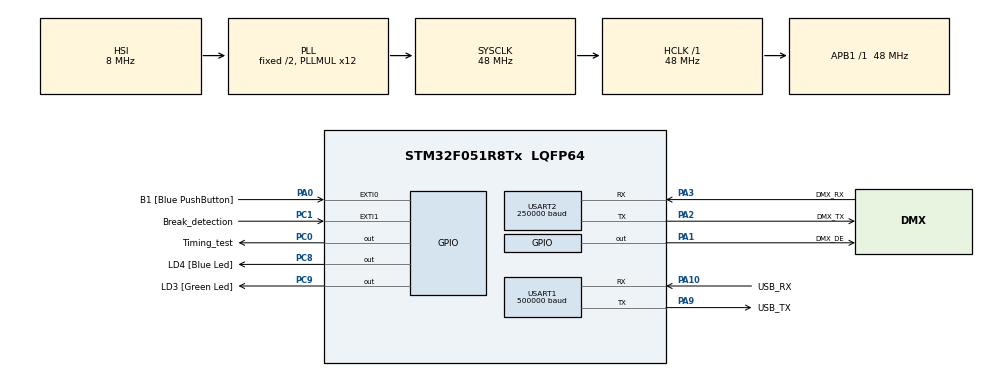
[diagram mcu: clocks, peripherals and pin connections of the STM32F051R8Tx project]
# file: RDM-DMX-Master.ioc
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Dma.Request0=USART1_RX
Dma.Request1=USART2_RX
Dma.USART1_RX.0.Direction=DMA_PERIPH_TO_MEMORY
Dma.USART1_RX.0.Instance=DMA1_Channel3
Dma.USART1_RX.0.MemDataAlignment=DMA_MDATAALIGN_BYTE
Dma.USART1_RX.0.MemInc=DMA_MINC_ENABLE
Dma.USART1_RX.0.Mode=DMA_NORMAL
Dma.USART1_RX.0.PeriphDataAlignment=DMA_PDATAALIGN_BYTE
Dma.USART1_RX.0.PeriphInc=DMA_PINC_DISABLE
Dma.USART1_RX.0.Priority=DMA_PRIORITY_LOW
Dma.USART2_RX.1.Direction=DMA_PERIPH_TO_MEMORY
Dma.USART2_RX.1.Instance=DMA1_Channel5
Dma.USART2_RX.1.MemDataAlignment=DMA_MDATAALIGN_BYTE
Dma.USART2_RX.1.MemInc=DMA_MINC_ENABLE
Dma.USART2_RX.1.Mode=DMA_NORMAL
Dma.USART2_RX.1.PeriphDataAlignment=DMA_PDATAALIGN_BYTE
Dma.USART2_RX.1.PeriphInc=DMA_PINC_DISABLE
Dma.USART2_RX.1.Priority=DMA_PRIORITY_LOW
Mcu.Family=STM32F0
Mcu.Name=STM32F051R8Tx
Mcu.Package=LQFP64
NVIC.DMA1_Channel2_3_IRQn=true\:0\:0\:false\:false\:true\:true\:true\:true
NVIC.DMA1_Channel4_5_IRQn=true\:0\:0\:false\:false\:true\:true\:true\:true
NVIC.TIM14_IRQn=true\:0\:0\:false\:false\:true\:true\:true\:true
NVIC.TIM17_IRQn=true\:1\:0\:true\:false\:true\:true\:true\:true
NVIC.TIM2_IRQn=true\:2\:0\:true\:false\:true\:true\:true\:true
NVIC.USART1_IRQn=true\:1\:0\:true\:false\:true\:true\:true\:true
NVIC.USART2_IRQn=true\:0\:0\:true\:false\:true\:true\:true\:true
PA0.GPIO_Label=B1 [Blue PushButton]
PA0.GPIO_ModeDefaultEXTI=GPIO_MODE_EVT_RISING
PA0.Signal=GPXTI0
PA1.GPIO_Label=DMX_DE
PA1.GPIO_Speed=GPIO_SPEED_FREQ_HIGH
PA1.Signal=GPIO_Output
PA10.GPIO_Label=USB_RX
PA10.Mode=Asynchronous
PA10.Signal=USART1_RX
PA13.GPIO_Label=SWDIO
PA13.Mode=Serial_Wire
PA13.Signal=SYS_SWDIO
PA14.GPIO_Label=SWCLK
PA14.Mode=Serial_Wire
PA14.Signal=SYS_SWCLK
PA2.GPIO_Label=DMX_TX
PA2.Mode=Asynchronous
PA2.Signal=USART2_TX
PA3.GPIO_Label=DMX_RX
PA3.Mode=Asynchronous
PA3.Signal=USART2_RX
PA9.GPIO_Label=USB_TX
PA9.Mode=Asynchronous
PA9.Signal=USART1_TX
PC0.GPIO_Label=Timing_test
PC0.GPIO_Speed=GPIO_SPEED_FREQ_HIGH
PC0.Signal=GPIO_Output
PC1.GPIO_Label=Break_detection
PC1.GPIO_ModeDefaultEXTI=GPIO_MODE_IT_RISING_FALLING
PC1.Signal=GPXTI1
PC8.GPIO_Label=LD4 [Blue Led]
PC8.Signal=GPIO_Output
PC9.GPIO_Label=LD3 [Green Led]
PC9.Signal=GPIO_Output
ProjectManager.HeapSize=0x200
ProjectManager.StackSize=0x400
ProjectManager.TargetToolchain=STM32CubeIDE
RCC.AHBFreq_Value=48000000
RCC.APB1Freq_Value=48000000
RCC.APB1TimFreq_Value=48000000
RCC.HCLKFreq_Value=48000000
RCC.PLLMUL=RCC_PLL_MUL12
RCC.SYSCLKFreq_VALUE=48000000
RCC.SYSCLKSource=RCC_SYSCLKSOURCE_PLLCLK
TIM14.Channel=TIM_CHANNEL_1
TIM14.Prescaler=48-1
TIM17.AutoReloadPreload=TIM_AUTORELOAD_PRELOAD_ENABLE
TIM17.Period=0xffff
TIM17.Prescaler=48-1
TIM2.Period=100000
TIM2.Prescaler=48-1
USART1.BaudRate=500000
USART1.StopBits=STOPBITS_2
USART1.VirtualMode-Asynchronous=VM_ASYNC
USART2.BaudRate=250000
USART2.StopBits=STOPBITS_2
USART2.VirtualMode-Asynchronous=VM_ASYNC
VP_TIM14_VS_ClockSourceINT.Mode=Enable_Timer
VP_TIM14_VS_no_output1.Mode=Output Compare1 No Output
VP_TIM17_VS_ClockSourceINT.Mode=Enable_Timer
VP_TIM2_VS_ClockSourceINT.Mode=Internal
board=STM32F0DISCOVERY

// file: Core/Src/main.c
/* USER CODE BEGIN Header */
/**
  ******************************************************************************
  * @file           : main.c
  * @brief          : Main program body
  ******************************************************************************
  * @attention
  *
  * Copyright (c) 2023 STMicroelectronics.
  * All rights reserved.
  *
  * This software is licensed under terms that can be found in the LICENSE file
  * in the root directory of this software component.
  * If no LICENSE file comes with this software, it is provided AS-IS.
  *
  ******************************************************************************
  */
/* USER CODE END Header */
#include "main.h"

/* USER CODE BEGIN Includes */
#include "DMX.h"
#include <stdio.h>
#include <stdlib.h>
#include <string.h>
/* USER CODE END Includes */

/* USER CODE BEGIN PD */
#define TIMEOUT 100
#define NUM_CHANNELS 40
#define MINIMAL_BREAK_TIME 80 //80us (por norma o minimo o 88us)
#define MINIMAL_MAB_TIME 8 //8us (por norma o minimo o 12us)
//#define DEBUG_RDM
//#define DEBUG_DMX
#define GUI_RDM_DMX
/* USER CODE END PD */

/* USER CODE BEGIN PM */
/* Macros para utilizar os mesmos pinos como UART e GPIO */
#define DMX_UART_Init() MX_USART2_UART_Init()
#define DMX_UART_DeInit HAL_UART_DeInit(&huart2)
#define DMX_GPIO_DeInit() HAL_GPIO_DeInit(GPIOA, GPIO_PIN_2); // Desativa o modo GPIO
#define DMX_Set_LOW() HAL_GPIO_WritePin(GPIOA, GPIO_PIN_2, GPIO_PIN_SET);
#define DMX_Set_HIGH() HAL_GPIO_WritePin(GPIOA, GPIO_PIN_2, GPIO_PIN_RESET);
#define DMX_Set_DE_LOW() HAL_GPIO_WritePin(GPIOA, GPIO_PIN_1, GPIO_PIN_RESET);
#define DMX_Set_DE_HIGH() HAL_GPIO_WritePin(GPIOA, GPIO_PIN_1, GPIO_PIN_SET);

#define HEADER_BUFFER_SIZE 9
#define GUI_addr &huart1
#define LIGHTING_addr &huart2
/* USER CODE END PM */

TIM_HandleTypeDef htim2;
TIM_HandleTypeDef htim14;
TIM_HandleTypeDef htim17;

UART_HandleTypeDef huart1;
UART_HandleTypeDef huart2;
DMA_HandleTypeDef hdma_usart1_rx;
DMA_HandleTypeDef hdma_usart2_rx;

/* USER CODE BEGIN PV */
// Defina os estados da maquina de estados para o envio DMX
typedef enum {
    STATE_IDLE,
    STATE_MBB,
    STATE_BREAK,
    STATE_MAB,
    STATE_DATA,
} DMX_State;

// Variaveis globais
DMX_State dmx_state = STATE_IDLE;
uint16_t dmx_index = 0;
uint16_t receivedIndex = 0;
uint8_t* receiveBuffer = NULL;

typedef struct {
    uint8_t *data;
    uint16_t capacity;
} DynamicFrame;

DynamicFrame currentFrame = {0};
uint8_t header_sequence[] = {0x7E, 0x06, 0x3A};
uint8_t tail_sequence[] = {0x7E, 0x06, 0x3B};
uint8_t TBB_value = 0;
uint8_t TBF_value = 0;
uint8_t break_time_value = 88;
uint8_t countinuous_DMX_send = 0;
uint8_t uartBuffer[HEADER_BUFFER_SIZE];
uint8_t* DMX_buffer_toSend = NULL;
uint16_t DMX_buffer_toSend_Size = 0;
uint8_t process_frame = 0;
uint8_t data_already_send = 1;
uint16_t Frame_Size = 0;
uint16_t UART2_rxBuffer_Size = 0;
uint8_t UART2_on_Start = 0;
uint8_t UART2_rxBuffer[1024];
uint8_t UART2_Begin_rxBuffer[3];
uint8_t on_MAB = 0;
uint8_t on_break_mark = 0;
uint8_t data_sent;
uint8_t gui_frame_is_rdm = 0;
uint16_t gui_frame_size = 0;
uint8_t gui_rdm_header_bytes[4] = {0};

/* USER CODE END PV */

void SystemClock_Config(void);
static void MX_GPIO_Init(void);
static void MX_DMA_Init(void);
static void MX_USART1_UART_Init(void);
static void MX_USART2_UART_Init(void);
static void MX_TIM2_Init(void);
static void MX_TIM17_Init(void);
static void MX_TIM14_Init(void);
/* USER CODE BEGIN PFP */
static void DMX_GPIO_Init(void);
static void DMX_GPIO_ToUSART(void);
static void DMX_ScheduleTimer(uint16_t period_us);
static uint16_t DMX_GetMarkBeforeBreak(void);
static uint16_t DMX_GetMarkAfterBreak(void);
static uint16_t DMX_GetBreakTimeUs(void);
static void DMX_DisableTransmitter(void);
static void DMX_EnableTransmitter(void);
void DMX_SendHandler(void);
void startTiming(void);
void stopTiming(void);
/* USER CODE END PFP */

/* USER CODE BEGIN 0 */
void HAL_UART_RxCpltCallback(UART_HandleTypeDef *huart) {
    if (huart == GUI_addr) {
        TIM2->CNT = 0; // Zera o timer que reseta uart em eventos de travamento

        // Sempre que esse callback dispara, significa que o cabecalho de 9 bytes
        // foi recebido via DMA em uartBuffer. Vamos validar e ler o payload.
        if ((uartBuffer[0] == header_sequence[0]) &&
            (uartBuffer[1] == header_sequence[1]) &&
            (uartBuffer[2] == header_sequence[2])) {

            uint16_t capacity = (uint16_t)((uartBuffer[3] << 8) | uartBuffer[4]);

            // Detecta se é frame RDM (start code 0xCC logo após o tamanho)
            if (uartBuffer[5] == 0xCCU) {
                gui_frame_is_rdm = 1U;
            } else {
                gui_frame_is_rdm = 0U;
                // Para DMX puro, atualiza parametros de tempo
                TBB_value = uartBuffer[5];
                TBF_value = uartBuffer[6];
                break_time_value = uartBuffer[7];
                countinuous_DMX_send = uartBuffer[8];
            }

            currentFrame.capacity = capacity;

            // Garante que nao ficamos com lixo antigo
            free(currentFrame.data);
            currentFrame.data = (uint8_t *)malloc(currentFrame.capacity);

            if (currentFrame.data != NULL) {
                // Le o restante do frame (dados + tail) byte a byte.
                // Para RDM, os primeiros 4 bytes do frame (0xCC,0x01,Message_Length e 1o byte do corpo)
                // ja foram recebidos junto com o cabecalho da interface em uartBuffer[5..8].
                // Copiamos esses 4 bytes para o inicio de currentFrame.data.
                uint16_t received = 0;
                if (gui_frame_is_rdm) {
                    currentFrame.data[0] = uartBuffer[5];
                    currentFrame.data[1] = uartBuffer[6];
                    currentFrame.data[2] = uartBuffer[7];
                    currentFrame.data[3] = uartBuffer[8];
                    received = 4;
                }

                while (received < currentFrame.capacity) {
                    if (HAL_UART_Receive(huart,
                                         &currentFrame.data[received],
                                         1,
                                         TIMEOUT) != HAL_OK) {
                        // Timeout ou erro ao ler este byte -> para
                        break;
                    }
                    received++;

                    if (received >= 3 &&
                        currentFrame.data[received - 3] == tail_sequence[0] &&
                        currentFrame.data[received - 2] == tail_sequence[1] &&
                        currentFrame.data[received - 1] == tail_sequence[2]) {
                        // Encontrou o tail completo
                        break;
                    }
                }

                if (received >= 3 &&
                    currentFrame.data[received - 3] == tail_sequence[0] &&
                    currentFrame.data[received - 2] == tail_sequence[1] &&
                    currentFrame.data[received - 1] == tail_sequence[2]) {
                    // Frame completo pronto para envio DMX/RDM
                    currentFrame.capacity = received;  // atualiza para o tamanho real lido
                    process_frame = 1;
                } else {
                    // Erro/timeout ou tail nao encontrado: descarta frame
                    free(currentFrame.data);
                    currentFrame.data = NULL;
                }
            }

            // Prepara para receber um novo cabecalho de 9 bytes via DMA
            HAL_UART_Receive_DMA(huart, uartBuffer, HEADER_BUFFER_SIZE);

        } else {
            // Cabecalho invalido, descarta e volta a esperar cabecalho
            free(currentFrame.data);
            currentFrame.data = NULL;
            HAL_UART_Receive_DMA(huart, uartBuffer, HEADER_BUFFER_SIZE);
        }
    }

    if (huart == LIGHTING_addr){

      /*
      // Corresponde a UART da interface RS485

      // Recebe os primeiros 3 bytes do frame.
      // Se for DMX espera receber 256 bytes
      // Se for RDM espera receber o tamanho designado para o frame

      if(huart->ErrorCode != 0){
        HAL_UART_DeInit(huart);
        HAL_UART_Init(huart);
        #ifdef DEBUG_PYSICAL
          Debug_write_string("\n\rOcorreu um erro no recebimento e os dados nao serao processados");
        #endif

      } else {

        if (UART2_on_Start){
          // Se a UART receceu os 3 bytes de inicio, entao testa se o RDM ou DMX
          //e prapara o recebimento do restante dos dados

          UART2_on_Start = 0;

          if (UART2_Begin_rxBuffer[0] == 0xCC){
            uint16_t Frame_Size = UART2_rxBuffer_Size - 3;
            HAL_UART_Receive_IT(huart, UART2_rxBuffer, Frame_Size);

          } else{
            // Tratamento quando o dado recebido nao o DMX nem RDM
            HAL_NVIC_EnableIRQ(EXTI0_1_IRQn); //Libera para receber um novo frame
          }

        } else {
          HAL_NVIC_EnableIRQ(EXTI0_1_IRQn); //Libera para receber um novo frame
          // Envia o frame para a interface grafica

        }
      }*/
    }
}

// Funcao para lidar com a transmissao concluoda
void HAL_UART_TxCpltCallback(UART_HandleTypeDef *huart)
{
	if (huart == &huart2){
		 // Este callback sera chamado quando a transmissao for concluoda
		DMX_Set_DE_LOW();  		 // Desabilitar o barramento DMX para escrita (Necessidade do RS485)
		dmx_state = STATE_IDLE;  // Transicao para o estado de IDLE
		data_sent = 1;

		// Libera o buffer de recebimento de dados
		if (!countinuous_DMX_send){
			DMX_buffer_toSend_Size = 0;
			free(DMX_buffer_toSend);
			DMX_buffer_toSend = NULL;
			data_already_send = 1; // Flag para indicar que os dados foram enviados
		}

	}
}

/* USER CODE END 0 */

int main(void)
{

  /* MCU Configuration--------------------------------------------------------*/

  /* Reset of all peripherals, Initializes the Flash interface and the Systick. */
  HAL_Init();

  /* Configure the system clock */
  SystemClock_Config();

  /* Initialize all configured peripherals */
  MX_GPIO_Init();
  MX_DMA_Init();
  MX_USART1_UART_Init();
  MX_USART2_UART_Init();
  MX_TIM2_Init();
  MX_TIM17_Init();
  MX_TIM14_Init();
  /* USER CODE BEGIN 2 */
  #define GUI_addr &huart1
  #define LIGHTING_addr &huart2

  uint8_t dataReceived;
  uint8_t GUI_receiveFinished = 0;
  uint8_t GUI_receive = 1;
  uint32_t currentTime;

  unsigned char viewDMX[20];

  DMX_UART_Init();
  HAL_TIM_Base_Start(&htim17);
  HAL_TIM_Base_Start_IT(&htim2);

  // Inicializa a DMA para a recepcao UART
  HAL_UART_Receive_DMA(&huart1, uartBuffer, HEADER_BUFFER_SIZE);

  /* USER CODE END 2 */

  /* Infinite loop */
  /* USER CODE BEGIN WHILE */
  while (1)
  {

//	if(process_frame == 0 && &huart1.Lock == HAL_UNLOCKED){
//		HAL_UART_Receive_DMA(&huart1, uartBuffer, HEADER_BUFFER_SIZE);
//	}

	if(process_frame && (data_already_send || data_sent)){
		// Libera a memoria anteriormente alocada se necessario
		DMX_buffer_toSend_Size = 0;
		free(DMX_buffer_toSend);
		DMX_buffer_toSend = NULL;

		if (DMX_buffer_toSend != NULL)
			free(DMX_buffer_toSend);

		// Define o payload a ser enviado (DMX puro ou RDM)
		if (gui_frame_is_rdm && currentFrame.capacity > 3) {
			// currentFrame.data contem o frame RDM completo vindo da GUI
			// seguido do tail da interface (0x7E 0x06 0x3B).
			// Remove apenas o tail e envia o frame exatamente como a GUI montou.
			uint16_t rdm_total = (uint16_t)(currentFrame.capacity - 3); // descarta tail 0x7E 0x06 0x3B

			DMX_buffer_toSend_Size = rdm_total;
			DMX_buffer_toSend = (uint8_t *)malloc(DMX_buffer_toSend_Size);
			if (DMX_buffer_toSend != NULL) {
				memcpy(DMX_buffer_toSend, currentFrame.data, rdm_total);
			}
		} else {
			// Frame DMX: mantém comportamento original
			DMX_buffer_toSend_Size = currentFrame.capacity - 5;
			DMX_buffer_toSend = (DMX_buffer_toSend_Size > 0)
			                    ? (uint8_t *)malloc(DMX_buffer_toSend_Size)
			                    : NULL;

			if (DMX_buffer_toSend != NULL) {
				// Copia payload DMX sem os 5 bytes de controle/tail
				memcpy(DMX_buffer_toSend, currentFrame.data, DMX_buffer_toSend_Size);
			}
		}

		// Verifica se a alocacao de memoria foi bem-sucedida antes de iniciar o envio
		if (DMX_buffer_toSend != NULL && DMX_buffer_toSend_Size > 0) {
			dmx_state = STATE_MBB;
			data_already_send = 0;
			DMX_SendHandler();
		} else {
			// Lida com a falha na alocacao de memoria, se necessario
		}

		process_frame = 0;
		data_sent = 0;
		data_already_send = 0;

    	// Prepara nova recepcao
    	free(currentFrame.data);
    	currentFrame.data = NULL;
//    	HAL_UART_Receive_DMA(&huart1, uartBuffer, HEADER_BUFFER_SIZE);

	}

	// Verifica se deve enviar continuamente os dados
	if(countinuous_DMX_send && data_sent){
		data_sent = 0;
		dmx_state = STATE_MBB;
		DMX_SendHandler();
	}

//	if(GUI_receive == 1){
//		/* Recebe dados da GUI */
//
//		if(HAL_UART_Receive (GUI_addr, &dataReceived, 1, 2) == HAL_OK){
//			uint8_t* tempBuffer = (uint8_t*)realloc(receiveBuffer, (receivedIndex + 1) * sizeof(uint8_t)); /* Buffer temporario para alocacao dinamica*/
//			receiveBuffer = tempBuffer;
//			receiveBuffer[receivedIndex++] = dataReceived;
//			GUI_receiveFinished = 1; /* Avisa que quando acabar o recebimento de bytes, pode enviar para a luminaria*/
//
//		} else if(GUI_receiveFinished == 1){
//
//			/* Se acabou o recebimento, envia para a luminaria e reseta os parametros de recebimento*/
//			if(receivedIndex > 5){ //Verifica se ha dados para serem repassados
//				dmx_state = STATE_MBB;
//				DMX_SendHandler();
//			}
//
//			if(receiveBuffer[0] == 0xCC){	// Se for um frame RDM, a proxima iteracao sera a espera de um comando vindo da luminaria
//				GUI_receive = 0; /* Entra para a secao que espera o recebimento de dados da luminaria e envia para a GUI*/
//				currentTime = __HAL_TIM_GET_COUNTER(&htim2); /* Inicia timer para definir rota de retorno para este modo*/
//
//			}
//
//			GUI_receiveFinished = 0;
////			receivedIndex = 0;
////			free(receiveBuffer);
////			receiveBuffer = NULL;
//		}
//	} else{
//		/* Recebe dados da luminaria */
//		if(HAL_UART_Receive (LIGHTING_addr, &dataReceived, 1, 1) == HAL_OK){
//			uint8_t* tempBuffer = (uint8_t*)realloc(receiveBuffer, (receivedIndex + 1) * sizeof(uint8_t)); /* Buffer temporario para alocacao dinamica*/
//			receiveBuffer = tempBuffer;
//			receiveBuffer[receivedIndex++] = dataReceived;
//			GUI_receiveFinished = 1; /* Avisa que quando acabar o recebimento de bytes, pode enviar para a luminaria*/
//
//		} else if(GUI_receiveFinished == 1){
//			/* Se acabou o recebimento, envia para a GUI e reseta os parametros de recebimento*/
//			if(receivedIndex > 1)//Verifica se ha dados para serem repassados
//				HAL_UART_Transmit(GUI_addr, receiveBuffer, receivedIndex, 1);
//
//			GUI_receiveFinished = 0;
//			receivedIndex = 0;
//			GUI_receive = 1; /* Volta para o recebimento de dados da GUI e envio para a luminaria*/
//			free(receiveBuffer);
//			receiveBuffer = NULL;
//
//		} else if((currentTime - __HAL_TIM_GET_COUNTER(&htim2)) > TIME_WAIT_RDM_RESPONSE){
//			GUI_receive = 1; /* Volta para o recebimento de dados da GUI e envio para a luminaria*/
//		}
//	}
    /* USER CODE END WHILE */

  }
}

void SystemClock_Config(void)
{
  RCC_OscInitTypeDef RCC_OscInitStruct = {0};
  RCC_ClkInitTypeDef RCC_ClkInitStruct = {0};
  RCC_PeriphCLKInitTypeDef PeriphClkInit = {0};

  /** Initializes the RCC Oscillators according to the specified parameters
  * in the RCC_OscInitTypeDef structure.
  */
  RCC_OscInitStruct.OscillatorType = RCC_OSCILLATORTYPE_HSI;
  RCC_OscInitStruct.HSIState = RCC_HSI_ON;
  RCC_OscInitStruct.HSICalibrationValue = RCC_HSICALIBRATION_DEFAULT;
  RCC_OscInitStruct.PLL.PLLState = RCC_PLL_ON;
  RCC_OscInitStruct.PLL.PLLSource = RCC_PLLSOURCE_HSI;
  RCC_OscInitStruct.PLL.PLLMUL = RCC_PLL_MUL12;
  RCC_OscInitStruct.PLL.PREDIV = RCC_PREDIV_DIV1;
  if (HAL_RCC_OscConfig(&RCC_OscInitStruct) != HAL_OK)
  {
    Error_Handler();
  }

  /** Initializes the CPU, AHB and APB buses clocks
  */
  RCC_ClkInitStruct.ClockType = RCC_CLOCKTYPE_HCLK|RCC_CLOCKTYPE_SYSCLK
                              |RCC_CLOCKTYPE_PCLK1;
  RCC_ClkInitStruct.SYSCLKSource = RCC_SYSCLKSOURCE_PLLCLK;
  RCC_ClkInitStruct.AHBCLKDivider = RCC_SYSCLK_DIV1;
  RCC_ClkInitStruct.APB1CLKDivider = RCC_HCLK_DIV1;

  if (HAL_RCC_ClockConfig(&RCC_ClkInitStruct, FLASH_LATENCY_1) != HAL_OK)
  {
    Error_Handler();
  }
  PeriphClkInit.PeriphClockSelection = RCC_PERIPHCLK_USART1;
  PeriphClkInit.Usart1ClockSelection = RCC_USART1CLKSOURCE_PCLK1;
  if (HAL_RCCEx_PeriphCLKConfig(&PeriphClkInit) != HAL_OK)
  {
    Error_Handler();
  }
}

static void MX_TIM2_Init(void)
{

  TIM_ClockConfigTypeDef sClockSourceConfig = {0};
  TIM_MasterConfigTypeDef sMasterConfig = {0};

  htim2.Instance = TIM2;
  htim2.Init.Prescaler = 48-1;
  htim2.Init.CounterMode = TIM_COUNTERMODE_UP;
  htim2.Init.Period = 100000;
  htim2.Init.ClockDivision = TIM_CLOCKDIVISION_DIV1;
  htim2.Init.AutoReloadPreload = TIM_AUTORELOAD_PRELOAD_DISABLE;
  if (HAL_TIM_Base_Init(&htim2) != HAL_OK)
  {
    Error_Handler();
  }
  sClockSourceConfig.ClockSource = TIM_CLOCKSOURCE_INTERNAL;
  if (HAL_TIM_ConfigClockSource(&htim2, &sClockSourceConfig) != HAL_OK)
  {
    Error_Handler();
  }
  sMasterConfig.MasterOutputTrigger = TIM_TRGO_RESET;
  sMasterConfig.MasterSlaveMode = TIM_MASTERSLAVEMODE_DISABLE;
  if (HAL_TIMEx_MasterConfigSynchronization(&htim2, &sMasterConfig) != HAL_OK)
  {
    Error_Handler();
  }

}

static void MX_TIM14_Init(void)
{

  TIM_OC_InitTypeDef sConfigOC = {0};

  htim14.Instance = TIM14;
  htim14.Init.Prescaler = 48-1;
  htim14.Init.CounterMode = TIM_COUNTERMODE_UP;
  htim14.Init.Period = 65535;
  htim14.Init.ClockDivision = TIM_CLOCKDIVISION_DIV1;
  htim14.Init.AutoReloadPreload = TIM_AUTORELOAD_PRELOAD_DISABLE;
  if (HAL_TIM_Base_Init(&htim14) != HAL_OK)
  {
    Error_Handler();
  }
  if (HAL_TIM_OC_Init(&htim14) != HAL_OK)
  {
    Error_Handler();
  }
  sConfigOC.OCMode = TIM_OCMODE_TIMING;
  sConfigOC.Pulse = 0;
  sConfigOC.OCPolarity = TIM_OCPOLARITY_HIGH;
  sConfigOC.OCFastMode = TIM_OCFAST_DISABLE;
  if (HAL_TIM_OC_ConfigChannel(&htim14, &sConfigOC, TIM_CHANNEL_1) != HAL_OK)
  {
    Error_Handler();
  }

}

static void MX_TIM17_Init(void)
{

  htim17.Instance = TIM17;
  htim17.Init.Prescaler = 48-1;
  htim17.Init.CounterMode = TIM_COUNTERMODE_UP;
  htim17.Init.Period = 0xffff;
  htim17.Init.ClockDivision = TIM_CLOCKDIVISION_DIV1;
  htim17.Init.RepetitionCounter = 0;
  htim17.Init.AutoReloadPreload = TIM_AUTORELOAD_PRELOAD_ENABLE;
  if (HAL_TIM_Base_Init(&htim17) != HAL_OK)
  {
    Error_Handler();
  }

}

static void MX_USART1_UART_Init(void)
{

  huart1.Instance = USART1;
  huart1.Init.BaudRate = 500000;
  huart1.Init.WordLength = UART_WORDLENGTH_8B;
  huart1.Init.StopBits = UART_STOPBITS_2;
  huart1.Init.Parity = UART_PARITY_NONE;
  huart1.Init.Mode = UART_MODE_TX_RX;
  huart1.Init.HwFlowCtl = UART_HWCONTROL_NONE;
  huart1.Init.OverSampling = UART_OVERSAMPLING_16;
  huart1.Init.OneBitSampling = UART_ONE_BIT_SAMPLE_DISABLE;
  huart1.AdvancedInit.AdvFeatureInit = UART_ADVFEATURE_NO_INIT;
  if (HAL_UART_Init(&huart1) != HAL_OK)
  {
    Error_Handler();
  }

}

static void MX_USART2_UART_Init(void)
{

  huart2.Instance = USART2;
  huart2.Init.BaudRate = 250000;
  huart2.Init.WordLength = UART_WORDLENGTH_8B;
  huart2.Init.StopBits = UART_STOPBITS_2;
  huart2.Init.Parity = UART_PARITY_NONE;
  huart2.Init.Mode = UART_MODE_TX_RX;
  huart2.Init.HwFlowCtl = UART_HWCONTROL_NONE;
  huart2.Init.OverSampling = UART_OVERSAMPLING_16;
  huart2.Init.OneBitSampling = UART_ONE_BIT_SAMPLE_DISABLE;
  huart2.AdvancedInit.AdvFeatureInit = UART_ADVFEATURE_NO_INIT;
  if (HAL_UART_Init(&huart2) != HAL_OK)
  {
    Error_Handler();
  }

}

static void MX_DMA_Init(void)
{

  /* DMA controller clock enable */
  __HAL_RCC_DMA1_CLK_ENABLE();

  /* DMA interrupt init */
  /* DMA1_Channel2_3_IRQn interrupt configuration */
  HAL_NVIC_SetPriority(DMA1_Channel2_3_IRQn, 0, 0);
  HAL_NVIC_EnableIRQ(DMA1_Channel2_3_IRQn);
  /* DMA1_Channel4_5_IRQn interrupt configuration */
  HAL_NVIC_SetPriority(DMA1_Channel4_5_IRQn, 0, 0);
  HAL_NVIC_EnableIRQ(DMA1_Channel4_5_IRQn);

}

static void MX_GPIO_Init(void)
{
  GPIO_InitTypeDef GPIO_InitStruct = {0};

  /* GPIO Ports Clock Enable */
  __HAL_RCC_GPIOC_CLK_ENABLE();
  __HAL_RCC_GPIOA_CLK_ENABLE();

  /*Configure GPIO pin Output Level */
  HAL_GPIO_WritePin(GPIOC, Timing_test_Pin|LD4_Pin|LD3_Pin, GPIO_PIN_RESET);

  /*Configure GPIO pin Output Level */
  HAL_GPIO_WritePin(DMX_DE_GPIO_Port, DMX_DE_Pin, GPIO_PIN_RESET);

  /*Configure GPIO pin : Timing_test_Pin */
  GPIO_InitStruct.Pin = Timing_test_Pin;
  GPIO_InitStruct.Mode = GPIO_MODE_OUTPUT_PP;
  GPIO_InitStruct.Pull = GPIO_NOPULL;
  GPIO_InitStruct.Speed = GPIO_SPEED_FREQ_HIGH;
  HAL_GPIO_Init(Timing_test_GPIO_Port, &GPIO_InitStruct);

  /*Configure GPIO pin : Break_detection_Pin */
  GPIO_InitStruct.Pin = Break_detection_Pin;
  GPIO_InitStruct.Mode = GPIO_MODE_IT_RISING_FALLING;
  GPIO_InitStruct.Pull = GPIO_NOPULL;
  HAL_GPIO_Init(Break_detection_GPIO_Port, &GPIO_InitStruct);

  /*Configure GPIO pin : B1_Pin */
  GPIO_InitStruct.Pin = B1_Pin;
  GPIO_InitStruct.Mode = GPIO_MODE_EVT_RISING;
  GPIO_InitStruct.Pull = GPIO_NOPULL;
  HAL_GPIO_Init(B1_GPIO_Port, &GPIO_InitStruct);

  /*Configure GPIO pin : DMX_DE_Pin */
  GPIO_InitStruct.Pin = DMX_DE_Pin;
  GPIO_InitStruct.Mode = GPIO_MODE_OUTPUT_PP;
  GPIO_InitStruct.Pull = GPIO_NOPULL;
  GPIO_InitStruct.Speed = GPIO_SPEED_FREQ_HIGH;
  HAL_GPIO_Init(DMX_DE_GPIO_Port, &GPIO_InitStruct);

  /*Configure GPIO pins : LD4_Pin LD3_Pin */
  GPIO_InitStruct.Pin = LD4_Pin|LD3_Pin;
  GPIO_InitStruct.Mode = GPIO_MODE_OUTPUT_PP;
  GPIO_InitStruct.Pull = GPIO_NOPULL;
  GPIO_InitStruct.Speed = GPIO_SPEED_FREQ_LOW;
  HAL_GPIO_Init(GPIOC, &GPIO_InitStruct);

}

/* USER CODE BEGIN 4 */
/*
 * Funcao que envia o comando DMX seguindo os tempos de MBB, break e MAB exigidos pela norma
 *
 * */

static void DMX_GPIO_Init(void){
	GPIO_InitTypeDef GPIO_InitStruct = {0};

	GPIO_InitStruct.Pin = GPIO_PIN_2;
	GPIO_InitStruct.Mode = GPIO_MODE_OUTPUT_PP;
	GPIO_InitStruct.Pull = GPIO_NOPULL;
	GPIO_InitStruct.Speed = GPIO_SPEED_FREQ_HIGH;
	HAL_GPIO_Init(GPIOA, &GPIO_InitStruct);

	DMX_Set_HIGH();
}

static void DMX_GPIO_ToUSART(void){
	GPIO_InitTypeDef GPIO_InitStruct = {0};

	GPIO_InitStruct.Pin = GPIO_PIN_2;
	GPIO_InitStruct.Mode = GPIO_MODE_AF_PP;
	GPIO_InitStruct.Pull = GPIO_NOPULL;
	GPIO_InitStruct.Speed = GPIO_SPEED_FREQ_HIGH;
	GPIO_InitStruct.Alternate = GPIO_AF1_USART2;
	HAL_GPIO_Init(GPIOA, &GPIO_InitStruct);
}

static void DMX_ScheduleTimer(uint16_t period_us){
	if (period_us == 0U){
		period_us = 1U;
	}
	__HAL_TIM_CLEAR_FLAG(&htim17, TIM_IT_UPDATE);
	TIM17->CNT = 0;
	TIM17->ARR = period_us;
	__HAL_TIM_ENABLE_IT(&htim17, TIM_IT_UPDATE);
}

static uint16_t DMX_GetMarkBeforeBreak(void){
	uint16_t value = TIME_BEFORE_BREAK;
	if (TBB_value != 0U){
		value = TBB_value;
	}
	if (value < MINIMAL_MAB_TIME){
		value = MINIMAL_MAB_TIME;
	}
	return value;
}

static uint16_t DMX_GetMarkAfterBreak(void){
	uint16_t value = TIME_AFTER_BREAK;
	if (TBF_value != 0U){
		value = TBF_value;
	}
	if (value < MINIMAL_MAB_TIME){
		value = MINIMAL_MAB_TIME;
	}
	return value;
}

static uint16_t DMX_GetBreakTimeUs(void){
	uint16_t value = break_time_value;
	if (value < MINIMAL_BREAK_TIME){
		value = MINIMAL_BREAK_TIME;
	}
	if (value > 13U){
		value -= 13U;
	}
	if (value == 0U){
		value = MINIMAL_BREAK_TIME;
	}
	return value;
}

static void DMX_DisableTransmitter(void){
	UART_HandleTypeDef *uart = LIGHTING_addr;
	while (__HAL_UART_GET_FLAG(uart, UART_FLAG_TC) == RESET){
	}
	CLEAR_BIT(uart->Instance->CR1, USART_CR1_TE);
}

static void DMX_EnableTransmitter(void){
	UART_HandleTypeDef *uart = LIGHTING_addr;
	SET_BIT(uart->Instance->CR1, USART_CR1_TE);
}

void DMX_SendHandler(void) {
    switch (dmx_state) {
        case STATE_IDLE:
            break;

        case STATE_MBB:
        	//DMX_Set_DE_HIGH(); DE retirado daqui pois o restante esta muito lento. Para poder sincronizar o acionamento de DE com MBB, foi colocado antes de break
            DMX_DisableTransmitter();
            DMX_GPIO_Init();
            DMX_Set_HIGH();
            DMX_ScheduleTimer(DMX_GetMarkBeforeBreak());
            dmx_state = STATE_BREAK;
            break;

        case STATE_BREAK:
            DMX_Set_LOW();
            DMX_Set_DE_HIGH(); // Via de regra nao deveria estar aqui, porem foi necessario para poder sincronizar subida com MBB (rever em outros micros)
            DMX_ScheduleTimer(DMX_GetBreakTimeUs());
            dmx_state = STATE_MAB;
            break;

        case STATE_MAB:
            DMX_Set_HIGH();
            DMX_ScheduleTimer(DMX_GetMarkAfterBreak());
            dmx_state = STATE_DATA;
            break;

        case STATE_DATA:
            DMX_Set_HIGH();
            DMX_GPIO_ToUSART();
            DMX_EnableTransmitter();
            dmx_state = STATE_IDLE;
            HAL_UART_Transmit_IT(LIGHTING_addr, DMX_buffer_toSend, DMX_buffer_toSend_Size);
            HAL_NVIC_EnableIRQ(TIM2_IRQn);
            break;
    }
}

void HAL_GPIO_EXTI_Callback(uint16_t GPIO_Pin)
{
	if(GPIO_Pin == Break_detection_Pin){
		uint8_t currentButtonState = HAL_GPIO_ReadPin(Break_detection_GPIO_Port, Break_detection_Pin);
		if(currentButtonState == 0){ // Borda de 1 - 0 (Detecta o break)
			if(on_break_mark){
				TIM14->CNT = 0;
				UART2_on_Start = 1;
				//HAL_GPIO_TogglePin(GPIOC, LD4_Pin);

			} else if (on_MAB) {
				//Confere se o break 00o pelo menos 80us
				//uint32_t tempo = TIM14->CNT;
				if(TIM14->CNT > MINIMAL_BREAK_TIME && UART2_on_Start){
					//HAL_GPIO_TogglePin(GPIOC, LD4_Pin);
					// Avalia se o tempo de brak foi atingido. Se sim, passa para avaliacao do MAB
					on_break_mark = 0;
					on_MAB = 1;
					TIM14->CNT = 0;
				}
			}

		} else{						 // Borda de 0 - 1 (Confere se o break 00o pelo menos 80us)
			//uint32_t tempo = TIM14->CNT;
			if(TIM14->CNT > MINIMAL_BREAK_TIME && UART2_on_Start){
				//HAL_GPIO_TogglePin(GPIOC, LD4_Pin);
				HAL_NVIC_DisableIRQ(EXTI0_1_IRQn); //Trava a recepcao de sinais que nao sejam break

				HAL_UART_Init(LIGHTING_addr);
				HAL_UART_Receive_DMA(LIGHTING_addr, UART2_Begin_rxBuffer, 3);

			}
		}
	}
}

// Verifica se ocorreu um erro no recebimento dos dados que pode travar a recepcao
void HAL_TIM_PeriodElapsedCallback(TIM_HandleTypeDef *htim) {
	if (htim->Instance == TIM14) {  // Verifica se o callback o para o timer TIM14
		HAL_NVIC_EnableIRQ(EXTI0_1_IRQn); //Libera para receber um novo frame
		on_break_mark = 1;
		on_MAB = 0;
	}
}

// Funcao para iniciar a temporizacao
void startTiming() {
    HAL_GPIO_WritePin(GPIOC, Timing_test_Pin, GPIO_PIN_SET); // Defina o pino para alto
}

// Funcao para parar a temporizacao
void stopTiming() {
    HAL_GPIO_WritePin(GPIOC, Timing_test_Pin, GPIO_PIN_RESET); // Defina o pino para baixo
}
/* USER CODE END 4 */

void Error_Handler(void)
{
  __disable_irq();
  while (1)
  {
  }
}
